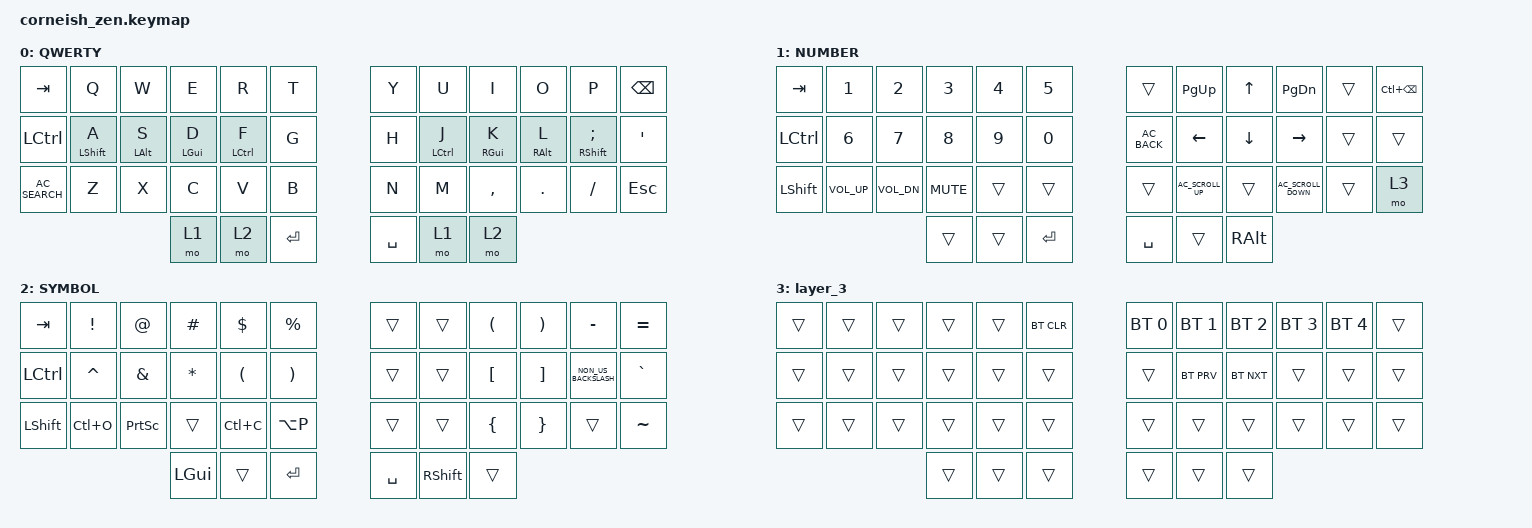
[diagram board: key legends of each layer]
#include <behaviors.dtsi>
#include <dt-bindings/zmk/bt.h>
#include <dt-bindings/zmk/keys.h>

/ {
    chosen {
        zmk,matrix_transform = &default_transform;

        //zmk,matrix_transform = &five_column_transform;
    };
};

/ {
    combos {
        compatible = "zmk,combos";

        layer3 {
            bindings = <&mo 3>;
            key-positions = <37 40>;
            layers = <4>;
        };
    };

    behaviors {
        homerow_a_shift: homerow_a_shift {
            compatible = "zmk,behavior-hold-tap";
            label = "HOMEROW_A_SHIFT";
            bindings = <&kp>, <&kp>;

            #binding-cells = <2>;
            tapping-term-ms = <200>;
            quick-tap-ms = <0>;
            flavor = "balanced";
            hold-trigger-key-positions = <13>;
        };
    };

    keymap {
        compatible = "zmk,keymap";

        default_layer {
            label = "QWERTY";

            // -----------------------------------------------------------------------------------------
            // |  TAB |  Q  |  W  |  E  |  R  |  T  |   |  Y  |  U   |  I  |  O  |  P  | BKSP |
            // | CTRL |  A  |  S  |  D  |  F  |  G  |   |  H  |  J   |  K  |  L  |  ;  |  '   |
            // | SHFT |  Z  |  X  |  C  |  V  |  B  |   |  N  |  M   |  ,  |  .  |  /  | ESC  |
            //                    | GUI | LWR | ENT |   | SPC | RSE  | ALT |

            bindings = <
&kp TAB          &kp Q             &kp W           &kp E           &kp R               &kp T      &kp Y      &kp U        &kp I            &kp O            &kp P                      &kp BSPC
&kp LCTRL        &mt LEFT_SHIFT A  &mt LEFT_ALT S  &mt LEFT_GUI D  &mt LEFT_CONTROL F  &kp G      &kp H      &mt LCTRL J  &mt RIGHT_GUI K  &mt RIGHT_ALT L  &mt RIGHT_SHIFT SEMICOLON  &kp SQT
&kp C_AC_SEARCH  &kp Z             &kp X           &kp C           &kp V               &kp B      &kp N      &kp M        &kp COMMA        &kp DOT          &kp FSLH                   &kp ESC
                                                   &mo 1           &mo 2               &kp RET    &kp SPACE  &mo 1        &mo 2
            >;
        };

        lower_layer {
            label = "NUMBER";

            // -----------------------------------------------------------------------------------------
            // |  TAB |  1  |  2  |  3  |  4  |  5  |   |  6    |  7  |  8  |  9  |  0  | BTCLR |
            // | CTRL | BT1 | BT2 | BT3 | BT4 | BT5 |   | PG_UP | LFT | UP  | RGT |     |       |
            // | SHFT |     |     |     |     |     |   | PG_DN |     | DWN |     |     |       |
            //                    | GUI |     | ENT |   | SPC   |     | ALT |

            bindings = <
&kp TAB    &kp N1           &kp N2        &kp N3        &kp N4        &kp N5          &trans         &kp PAGE_UP         &kp UP_ARROW    &kp PAGE_DOWN         &trans  &kp LC(BACKSPACE)
&kp LCTRL  &kp NUMBER_6     &kp NUMBER_7  &kp NUMBER_8  &kp NUMBER_9  &kp NUMBER_0    &kp C_AC_BACK  &kp LEFT            &kp DOWN_ARROW  &kp RIGHT             &trans  &trans
&kp LSHFT  &kp C_VOLUME_UP  &kp C_VOL_DN  &kp C_MUTE    &trans        &trans          &trans         &kp C_AC_SCROLL_UP  &trans          &kp C_AC_SCROLL_DOWN  &trans  &mo 3
                                          &trans        &trans        &kp RET         &kp SPACE      &trans              &kp RALT
            >;
        };

        raise_layer {
            label = "SYMBOL";

            // ------------------------------------------------------------------------------------------------------------------
            // |  TAB   |  !            |  @                 |  #               |  $                |  %        |       |  ^      |  &     |  *            |  (     |  )       | BKSP |
            // | CTRL   | Mag full      | Mag left           | Magnet center    | Mag right         |           |       |  -      |  =     |  \            |  [     |  ]       |  `   |
            // | SHFT   |               |                    |                  |                   |           |       |  _      |  +     | "|"           |  {     |  }       |  ~   |
            //                          | GUI                |                  | ENT               |           |       | SPC     |        | ALT           |

            bindings = <
&kp TAB    &kp EXCL   &kp AT           &kp HASH      &kp DLLR              &kp PRCNT                &trans     &trans           &kp LEFT_PARENTHESIS  &kp RIGHT_PARENTHESIS  &kp MINUS             &kp EQUAL
&kp LCTRL  &kp CARET  &kp AMPERSAND    &kp ASTERISK  &kp LEFT_PARENTHESIS  &kp RIGHT_PARENTHESIS    &trans     &trans           &kp LEFT_BRACKET      &kp RIGHT_BRACKET      &kp NON_US_BACKSLASH  &kp GRAVE
&kp LSHFT  &kp LC(O)  &kp PRINTSCREEN  &trans        &kp LC(C)             &kp LA(P)                &trans     &trans           &kp LEFT_BRACE        &kp RIGHT_BRACE        &trans                &kp TILDE
                                       &kp LGUI      &trans                &kp RET                  &kp SPACE  &kp RIGHT_SHIFT  &trans
            >;
        };

        layer_3 {
            bindings = <
&trans  &trans  &trans  &trans  &trans  &bt BT_CLR    &bt BT_SEL 0  &bt BT_SEL 1  &bt BT_SEL 2  &bt BT_SEL 3  &bt BT_SEL 4  &trans
&trans  &trans  &trans  &trans  &trans  &trans        &trans        &bt BT_PRV    &bt BT_NXT    &trans        &trans        &trans
&trans  &trans  &trans  &trans  &trans  &trans        &trans        &trans        &trans        &trans        &trans        &trans
                        &trans  &trans  &trans        &trans        &trans        &trans
            >;
        };
    };
};
